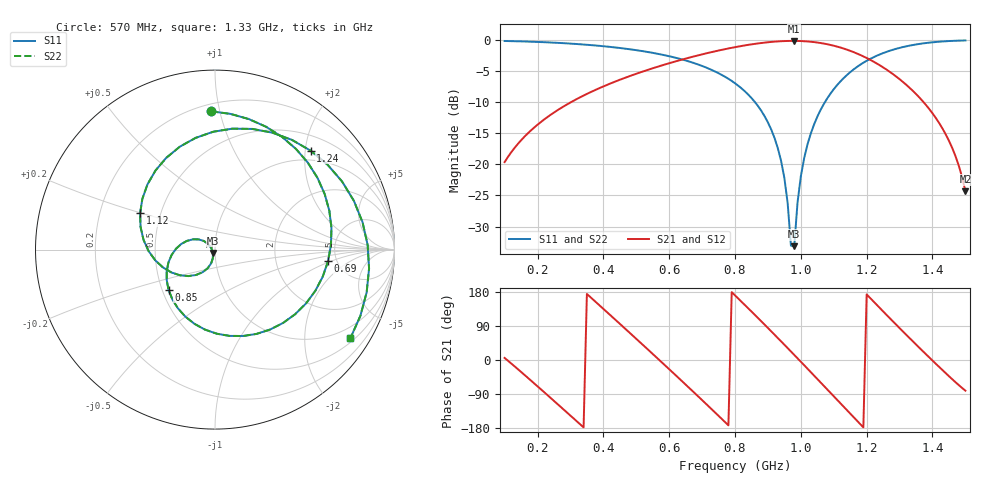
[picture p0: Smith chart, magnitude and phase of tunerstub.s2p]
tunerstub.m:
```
% script matrix1

% 500MHz - 5GHz
sweeppoints = 100e+6:10e+6:1.5e+9;

% port impedance
Z0 = 50 + 0j;

% common functions
addpath("../RFlib")

% tuning cap
cap = 2e-12;

ts = sweep2ts(sweeppoints);

for fp = 1:length(sweeppoints)
    f = sweeppoints(fp);


    % bandpass tuner, implemented as a capacitively loaded,
    % tapped grounded stub

    % total length of the stub
    len = f2rad(f, 1.5e+9)/4;

    % Grounded section
    % terminated with 0.3 ohm (short)
    Mo1 = TLineMatrix(Z0, (len / 2));
    Mo1 = Mo1 * ShuntImpedanceMatrix(0.3);


    % Open-ended section
    % terminated with a tuning cap
    Mo2 = TLineMatrix(Z0, ((len / 2) * 1));
    Mo2 = Mo2 * ShuntImpedanceMatrix(CapacitorImpedance(cap, f) + 0.3);


    % Main line
    M = TLineMatrix(Z0, f2rad(f, 1e+9));
    M = M * OrthogonalNetworkMatrix(Mo1);
    M = M * OrthogonalNetworkMatrix(Mo2);
    M = M * TLineMatrix(Z0, f2rad(f, 1e+9));

    ts.points(fp).S = abcd2s(M, Z0);
end

plot2ports(ts, 88);

pause();

touchstonewrite([mfilename() '.s2p'], ts);
```
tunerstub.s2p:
! https://github.com/szoftveres
# Hz S RI R 50
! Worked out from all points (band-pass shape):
!   141 points, 100 MHz to 1.5 GHz, reference 50 ohm
!   highest |S21| = -0.14 dB at 980 MHz (marker M1); lowest = -24.3 dB at 1.5 GHz (marker M2)
!   |S21| within 3 dB of the highest: 639.4 MHz to 1.209 GHz (569.9 MHz wide, 61.7 % of centre)
!   lowest |S11| = -33.2 dB at 980 MHz (marker M3), VSWR 1.04, Z = 48.8 - j1.82 ohm
!   |S11| at or under -10 dB: 860.8 MHz to 1.073 GHz (212.3 MHz wide, 22 % of centre)
!   |S22| runs from -33.2 to -0.1 dB; largest |S21 - S12| = 0
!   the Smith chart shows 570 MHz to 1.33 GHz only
!   S11 on the Smith chart (normalised r, x): 570 MHz: 0.25, +0.94; 690 MHz: 4.24, -0.91; 850 MHz: 0.54, -0.27; 1.12 GHz: 0.38, +0.20; 1.24 GHz: 0.79, +2.11; 1.33 GHz: 0.62, -3.25
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1e8  -0.2052 0.961  0.1038 0.00993  0.1038 0.00993  -0.2052 0.961
3.4e8  0.0682 -0.918  -0.3576 -0.0132  -0.3576 -0.0132  0.0682 -0.918
5.7e8  -0.0214 0.7703  0.616 -0.000211  0.616 -0.000211  -0.0214 0.7703
6.9e8  0.6298 -0.0644  -0.0992 -0.7489  -0.0992 -0.7489  0.6298 -0.0644
8e8  -0.0558 -0.4457  -0.8648 0.1421  -0.8648 0.1421  -0.0558 -0.4457
8.5e8  -0.2589 -0.2231  -0.5679 0.7279  -0.5679 0.7279  -0.2589 -0.2231
9.8e8  -0.0117 -0.0186  0.9569 0.2301  0.9569 0.2301  -0.0117 -0.0186
1.12e9  -0.4173 0.2024  -0.3545 -0.7956  -0.3545 -0.7956  -0.4173 0.2024
1.24e9  0.5327 0.5512  -0.4595 0.4259  -0.4595 0.4259  0.5327 0.5512
1.33e9  0.7548 -0.4928  0.219 0.3516  0.219 0.3516  0.7548 -0.4928
1.5e9  -0.9904 -0.0601  0.00963 -0.0601  0.00963 -0.0601  -0.9904 -0.0601
